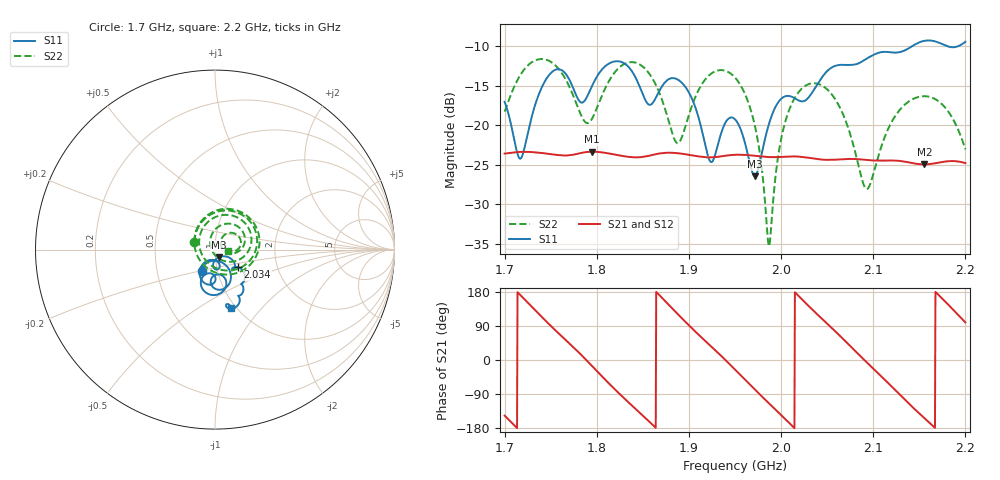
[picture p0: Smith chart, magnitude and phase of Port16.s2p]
# Hz S RI R 50
! CMT, CMT808U, 21440046, 21.4.3/4
! Date: 11/20/2025 11:44:27 PM
! Data: Format (Calibration Info)
! Freq	S11:Re/Im(F2)	S41:Re/Im(F2)	S14:Re/Im(F2)	S44:Re/Im(F2)
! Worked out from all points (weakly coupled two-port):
!   1001 points, 1.7 GHz to 2.2 GHz, reference 50 ohm
!   highest |S21| = -23.34 dB at 1.795 GHz (marker M1); lowest = -24.9 dB at 2.155 GHz (marker M2)
!   lowest |S11| = -26.4 dB at 1.972 GHz (marker M3), VSWR 1.10, Z = 51.8 - j4.5 ohm
!   |S11| at or under -10 dB: start of sweep to 2.142 GHz; 2.18 GHz to 2.192 GHz (12.58 MHz wide, 0.576 % of centre)
!   |S22| runs from -35.3 to -11.6 dB; largest |S21 - S12| = 0.00066
!   S11 on the Smith chart (normalised r, x): 1.7 GHz: 0.84, -0.21; 2.034 GHz: 1.27, -0.26; 2.2 GHz: 0.95, -0.69
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1.7e9  -0.0733 -0.1198  -0.0554 -0.0363  -0.0559 -0.036  -0.1146 0.0415
1.717e9  -0.000533 -0.0615  -0.0671 0.01  -0.0673 0.0105  -0.0186 0.2064
1.751e9  0.0689 -0.2046  0.00236 0.0656  0.00283 0.0657  0.2476 0.031
1.7835e9  0.0113 -0.1385  0.0653 0.0148  0.0656 0.0144  -0.0357 -0.1083
1.795e9  0.0591 -0.1676  0.0654 -0.0191  0.0654 -0.0197  -0.1103 0.000777
1.825e9  -0.0255 -0.2514  -7.78e-05 -0.0644  -0.000584 -0.0646  0.0865 0.2165
1.8465e9  -0.0733 -0.1595  -0.0471 -0.0415  -0.0475 -0.0413  0.2344 0.0607
1.867e9  0.00309 -0.1608  -0.0658 0.00738  -0.0659 0.0079  0.1255 -0.1075
1.888e9  -0.0615 -0.1841  -0.0341 0.0572  -0.0337 0.0576  -0.0669 -0.0382
1.9045e9  -0.0844 -0.1138  0.0104 0.0636  0.0109 0.0636  -0.0659 0.122
1.9235e9  -0.0131 -0.0573  0.0499 0.038  0.0504 0.0376  0.0877 0.1912
1.95e9  0.000638 -0.109  0.0588 -0.0279  0.0587 -0.0284  0.1988 0.0228
1.9715e9  0.02 -0.0433  0.0133 -0.0628  0.0128 -0.063  0.0733 -0.0675
1.987e9  0.0891 -0.0509  -0.0261 -0.0573  -0.0267 -0.0572  -0.0157 -0.00714
2.0045e9  0.1082 -0.1074  -0.0577 -0.0262  -0.058 -0.0258  -0.00544 0.1047
2.0335e9  0.1269 -0.0977  -0.0429 0.0445  -0.0426 0.045  0.1448 0.1135
2.034e9  0.1286 -0.0982  -0.042 0.0454  -0.0416 0.0458  0.1465 0.1115
2.063e9  0.1572 -0.1816  0.0249 0.0555  0.0254 0.0554  0.1318 -0.00986
2.0925e9  0.1575 -0.2101  0.0602 -0.00541  0.0603 -0.0059  0.0371 0.0141
2.117e9  0.1337 -0.257  0.0274 -0.0533  0.027 -0.0536  0.0528 0.0815
2.1555e9  0.1155 -0.321  -0.0506 -0.0255  -0.0508 -0.0251  0.1405 0.0597
2.2e9  0.0879 -0.3246  -0.00919 0.057  -0.00872 0.057  0.0702 -0.00651
